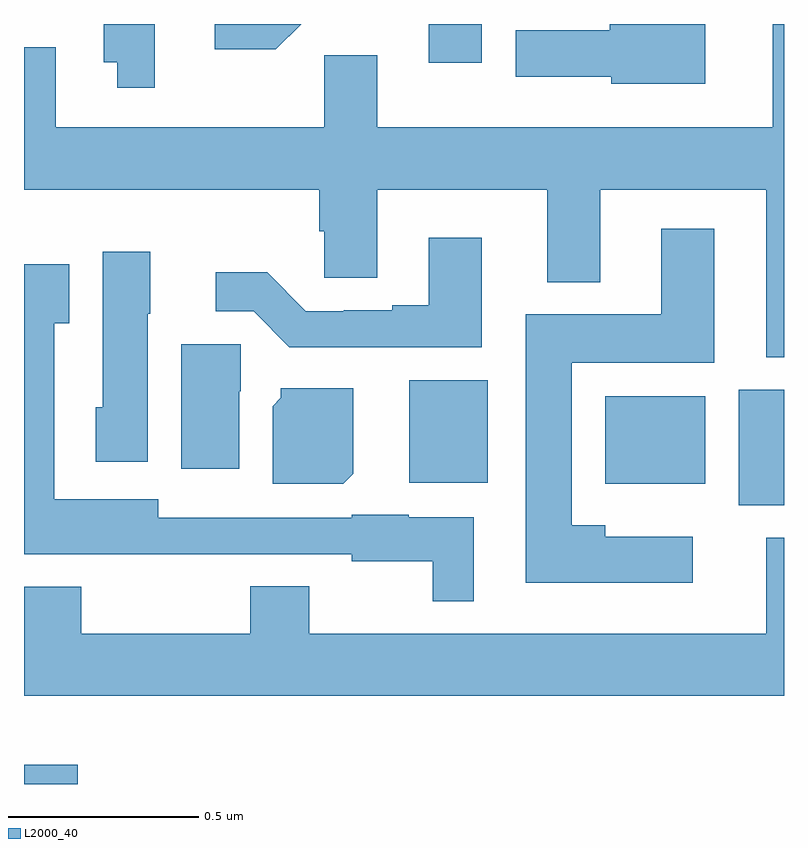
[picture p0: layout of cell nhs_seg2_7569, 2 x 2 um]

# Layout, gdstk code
import gdstk
lib = gdstk.Library(unit=1e-6, precision=1e-09)
def R(c, l, rs):  # rectangles x0, y0, x1, y1
    for r in rs: c.add(gdstk.rectangle(r[:2], r[2:], *l))
def P(c, l, *ps):  # polygons
    for p in ps: c.add(gdstk.Polygon(p, *l))
L2000_40 = (2000, 40)

nhs_seg2_7569 = lib.new_cell('nhs_seg2_7569')
R(nhs_seg2_7569, L2000_40, [(206,584.8,206.141,584.851), (207.881,585.533,208,585.838), (207.53,585.59,207.793,585.82), (207.014,585.593,207.22,585.862), (207.065,586.698,207.205,586.8)])
P(nhs_seg2_7569, L2000_40, [(207.793,586.8),(207.542,586.8),(207.542,586.783),(207.294,586.783),(207.294,586.661),(207.546,586.661),(207.546,586.643),(207.793,586.643)],
  [(206.344,586.8),(206.21,586.8),(206.21,586.7),(206.246,586.7),(206.246,586.632),(206.344,586.632)],
  [(208,586.8),(207.971,586.8),(207.971,586.528),(206.929,586.528),(206.929,586.718),(206.79,586.718),(206.79,586.528),(206.083,586.528),(206.083,586.739),(206,586.739),(206,586.364),(206.777,586.364),(206.777,586.254),(206.79,586.254),(206.79,586.132),(206.929,586.132),(206.929,586.364),(207.377,586.364),(207.377,586.121),(207.517,586.121),(207.517,586.364),(207.953,586.364),(207.953,585.923),(208,585.923)],
  [(206.73,586.8),(206.502,586.8),(206.502,586.733),(206.663,586.733)],
  [(207.76,585.451),(207.529,585.451),(207.529,585.481),(207.442,585.481),(207.442,585.908),(207.817,585.908),(207.817,586.261),(207.677,586.261),(207.677,586.036),(207.32,586.036),(207.32,585.329),(207.76,585.329)],
  [(207.205,586.237),(207.065,586.237),(207.065,586.06),(206.969,586.06),(206.969,586.047),(206.842,586.047),(206.842,586.044),(206.742,586.044),(206.64,586.147),(206.505,586.147),(206.505,586.044),(206.604,586.044),(206.698,585.95),(207.205,585.95)],
  [(206.326,586.038),(206.332,586.038),(206.332,586.201),(206.207,586.201),(206.207,585.792),(206.189,585.792),(206.189,585.648),(206.326,585.648)],
  [(207.184,585.502),(207.012,585.502),(207.012,585.508),(206.862,585.508),(206.862,585.501),(206.353,585.501),(206.353,585.55),(206.079,585.55),(206.079,586.012),(206.119,586.012),(206.119,586.168),(206,586.168),(206,585.404),(206.345,585.404),(206.345,585.405),(206.862,585.405),(206.862,585.386),(207.075,585.386),(207.075,585.281),(207.184,585.281)],
  [(206.566,585.834),(206.57,585.834),(206.57,585.957),(206.414,585.957),(206.414,585.63),(206.566,585.63)],
  [(206.866,585.616),(206.866,585.841),(206.676,585.841),(206.676,585.816),(206.654,585.794),(206.654,585.59),(206.84,585.59)],
  [(208,585.448),(207.953,585.448),(207.953,585.196),(206.751,585.196),(206.751,585.32),(206.596,585.32),(206.596,585.196),(206.151,585.196),(206.151,585.319),(206,585.319),(206,585.032),(208,585.032)])

lib.write_gds('nhs_seg2_7569.gds')
